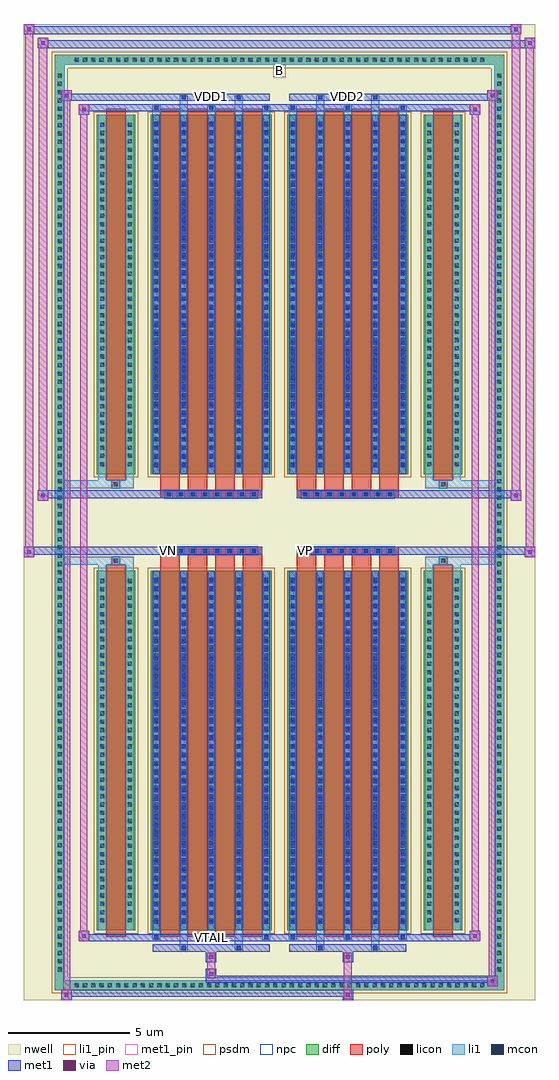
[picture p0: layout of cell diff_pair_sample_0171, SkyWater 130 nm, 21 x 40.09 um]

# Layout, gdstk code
import gdstk
lib = gdstk.Library(unit=1e-6, precision=5e-09)
def R(c, l, rs):  # rectangles x0, y0, x1, y1
    for r in rs: c.add(gdstk.rectangle(r[:2], r[2:], *l))
def A(c, l, x, y, w, h, nx, ny, dx, dy):  # array of equal rectangles
    R(c, l, [(x+i*dx, y+j*dy, x+i*dx+w, y+j*dy+h) for i in range(nx) for j in range(ny)])
def P(c, l, *ps):  # polygons
    for p in ps: c.add(gdstk.Polygon(p, *l))
nwell = (64, 20)
diff = (65, 20)
poly = (66, 20)
licon = (66, 44)
li1_pin = (67, 16)
li1 = (67, 20)
mcon = (67, 44)
met1_pin = (68, 16)
met1 = (68, 20)
via = (68, 44)
met2 = (69, 20)
psdm = (94, 20)
npc = (95, 20)

diff_pair_sample_0171 = lib.new_cell('diff_pair_sample_0171')
R(diff_pair_sample_0171, nwell, [(-10.5,-19.61,10.5,20.48), (-7.82,-17.8,-0.01,-0.8), (0.01,-17.8,7.82,-0.8), (-7.82,0.8,-0.01,17.8), (0.01,0.8,7.82,17.8)])
A(diff_pair_sample_0171, diff, -8.535, -19.21, 0.41, 0.41, 50, 2, 0.34, 38.01)
A(diff_pair_sample_0171, diff, -9.23, -18.565, 0.41, 0.41, 1, 109, 0, 0.34)
A(diff_pair_sample_0171, diff, 8.82, -18.565, 0.41, 0.41, 1, 109, 0, 0.34)
R(diff_pair_sample_0171, diff, [(-8.535,-19.21,8.535,-18.8), (-9.23,-18.565,-8.82,18.565), (8.82,-18.565,9.23,18.565), (-7.51,-16.755,-5.93,-1.985), (-5.29,-16.755,-0.32,-1.985), (0.32,-16.755,5.29,-1.985), (5.93,-16.755,7.51,-1.985), (-7.51,1.985,-5.93,16.755), (-5.29,1.985,-0.32,16.755), (0.32,1.985,5.29,16.755), (5.93,1.985,7.51,16.755), (-8.535,18.8,8.535,19.21)])
P(diff_pair_sample_0171, diff, [(9.23,19.21),(-9.23,19.21),(-9.23,-18.8),(-8.82,-18.8),(-8.82,18.8),(8.82,18.8),(8.82,-18.8),(-8.82,-18.8),(-9.23,-18.8),(-9.23,-19.21),(9.23,-19.21)])
A(diff_pair_sample_0171, poly, -4.9, -17.005, 0.8, 15.27, 4, 2, 1.13, 18.74)
A(diff_pair_sample_0171, poly, 0.71, -17.005, 0.8, 15.27, 4, 2, 1.13, 18.74)
A(diff_pair_sample_0171, poly, -4.9, -1.735, 0.8, 0.405, 4, 2, 1.13, 3.065)
A(diff_pair_sample_0171, poly, 0.71, -1.735, 0.8, 0.405, 4, 2, 1.13, 3.065)
A(diff_pair_sample_0171, poly, -4.72, -1.33, 0.33, 0.33, 8, 2, 0.5, 2.33)
A(diff_pair_sample_0171, poly, 0.89, -1.33, 0.33, 0.33, 8, 2, 0.5, 2.33)
R(diff_pair_sample_0171, poly, [(-7.12,-17.005,-6.32,-1.735), (6.32,-17.005,7.12,-1.735), (-6.885,-1.735,-6.555,-1.405), (-6.885,-1.735,-6.555,-1.405), (6.555,-1.735,6.885,-1.405), (6.555,-1.735,6.885,-1.405), (-4.9,-1.33,-0.71,-1), (0.71,-1.33,4.9,-1), (-4.9,1,-0.71,1.33), (0.71,1,4.9,1.33), (-6.885,1.405,-6.555,1.735), (-6.885,1.405,-6.555,1.735), (6.555,1.405,6.885,1.735), (6.555,1.405,6.885,1.735), (-7.12,1.735,-6.32,17.005), (6.32,1.735,7.12,17.005)])
A(diff_pair_sample_0171, licon, -8.415, -19.09, 0.17, 0.17, 50, 2, 0.34, 38.01)
A(diff_pair_sample_0171, licon, -9.11, -18.445, 0.17, 0.17, 1, 109, 0, 0.34)
A(diff_pair_sample_0171, licon, 8.94, -18.445, 0.17, 0.17, 1, 109, 0, 0.34)
A(diff_pair_sample_0171, licon, -7.37, -16.425, 0.17, 0.17, 1, 42, 0, 0.34)
A(diff_pair_sample_0171, licon, -6.24, -16.425, 0.17, 0.17, 1, 42, 0, 0.34)
A(diff_pair_sample_0171, licon, -5.15, -16.425, 0.17, 0.17, 5, 42, 1.13, 0.34)
A(diff_pair_sample_0171, licon, 0.46, -16.425, 0.17, 0.17, 5, 42, 1.13, 0.34)
A(diff_pair_sample_0171, licon, 6.07, -16.425, 0.17, 0.17, 1, 42, 0, 0.34)
A(diff_pair_sample_0171, licon, 7.2, -16.425, 0.17, 0.17, 1, 42, 0, 0.34)
A(diff_pair_sample_0171, licon, -4.64, -1.25, 0.17, 0.17, 8, 2, 0.5, 2.33)
A(diff_pair_sample_0171, licon, 0.97, -1.25, 0.17, 0.17, 8, 2, 0.5, 2.33)
A(diff_pair_sample_0171, licon, -7.37, 2.315, 0.17, 0.17, 1, 42, 0, 0.34)
A(diff_pair_sample_0171, licon, -6.24, 2.315, 0.17, 0.17, 1, 42, 0, 0.34)
A(diff_pair_sample_0171, licon, -5.15, 2.315, 0.17, 0.17, 5, 42, 1.13, 0.34)
A(diff_pair_sample_0171, licon, 0.46, 2.315, 0.17, 0.17, 5, 42, 1.13, 0.34)
A(diff_pair_sample_0171, licon, 6.07, 2.315, 0.17, 0.17, 1, 42, 0, 0.34)
A(diff_pair_sample_0171, licon, 7.2, 2.315, 0.17, 0.17, 1, 42, 0, 0.34)
R(diff_pair_sample_0171, licon, [(-6.805,-1.655,-6.635,-1.485), (6.635,-1.655,6.805,-1.485), (-6.805,1.485,-6.635,1.655), (6.635,1.485,6.805,1.655)])
R(diff_pair_sample_0171, li1_pin, [(-0.25,18.3,0.25,18.8)])
A(diff_pair_sample_0171, li1, -8.495, -19.17, 0.33, 0.33, 50, 2, 0.34, 38.01)
A(diff_pair_sample_0171, li1, -9.19, -18.525, 0.33, 0.33, 1, 109, 0, 0.34)
A(diff_pair_sample_0171, li1, 8.86, -18.525, 0.33, 0.33, 1, 109, 0, 0.34)
A(diff_pair_sample_0171, li1, -5.23, -17.13, 0.33, 0.375, 3, 2, 2.26, 33.885)
A(diff_pair_sample_0171, li1, -5.15, -17.13, 0.17, 0.17, 3, 2, 2.26, 34.09)
A(diff_pair_sample_0171, li1, 0.38, -17.13, 0.33, 0.375, 3, 2, 2.26, 33.885)
A(diff_pair_sample_0171, li1, 0.46, -17.13, 0.17, 0.17, 3, 2, 2.26, 34.09)
A(diff_pair_sample_0171, li1, -5.23, -16.755, 0.33, 14.77, 5, 2, 1.13, 18.74)
A(diff_pair_sample_0171, li1, 0.38, -16.755, 0.33, 14.77, 5, 2, 1.13, 18.74)
A(diff_pair_sample_0171, li1, -7.45, -16.505, 0.33, 0.33, 1, 42, 0, 0.34)
A(diff_pair_sample_0171, li1, -6.32, -16.505, 0.33, 0.33, 1, 42, 0, 0.34)
A(diff_pair_sample_0171, li1, -5.23, -16.505, 0.33, 0.33, 5, 42, 1.13, 0.34)
A(diff_pair_sample_0171, li1, 0.38, -16.505, 0.33, 0.33, 5, 42, 1.13, 0.34)
A(diff_pair_sample_0171, li1, 5.99, -16.505, 0.33, 0.33, 1, 42, 0, 0.34)
A(diff_pair_sample_0171, li1, 7.12, -16.505, 0.33, 0.33, 1, 42, 0, 0.34)
A(diff_pair_sample_0171, li1, -5.15, -16.475, 0.17, 0.17, 5, 40, 1.13, 0.36)
A(diff_pair_sample_0171, li1, -5.15, -16.475, 0.17, 14.21, 5, 2, 1.13, 18.74)
A(diff_pair_sample_0171, li1, 0.46, -16.475, 0.17, 0.17, 5, 40, 1.13, 0.36)
A(diff_pair_sample_0171, li1, 0.46, -16.475, 0.17, 14.21, 5, 2, 1.13, 18.74)
A(diff_pair_sample_0171, li1, -4.72, -1.33, 0.33, 0.33, 8, 2, 0.5, 2.33)
A(diff_pair_sample_0171, li1, 0.89, -1.33, 0.33, 0.33, 8, 2, 0.5, 2.33)
A(diff_pair_sample_0171, li1, -7.45, 2.235, 0.33, 0.33, 1, 42, 0, 0.34)
A(diff_pair_sample_0171, li1, -6.32, 2.235, 0.33, 0.33, 1, 42, 0, 0.34)
A(diff_pair_sample_0171, li1, -5.23, 2.235, 0.33, 0.33, 5, 42, 1.13, 0.34)
A(diff_pair_sample_0171, li1, 0.38, 2.235, 0.33, 0.33, 5, 42, 1.13, 0.34)
A(diff_pair_sample_0171, li1, 5.99, 2.235, 0.33, 0.33, 1, 42, 0, 0.34)
A(diff_pair_sample_0171, li1, 7.12, 2.235, 0.33, 0.33, 1, 42, 0, 0.34)
A(diff_pair_sample_0171, li1, -5.15, 2.265, 0.17, 0.17, 5, 40, 1.13, 0.36)
A(diff_pair_sample_0171, li1, 0.46, 2.265, 0.17, 0.17, 5, 40, 1.13, 0.36)
R(diff_pair_sample_0171, li1, [(-9.23,-19.21,-8.82,-18.8), (-9.23,-19.21,-8.82,-18.8), (-8.82,-19.21,8.82,-18.8), (8.82,-19.21,9.23,-18.8), (8.82,-19.21,9.23,-18.8), (-9.23,-18.8,-8.82,18.8), (8.82,-18.8,9.23,18.8), (-4.1,-17.56,-3.77,-16.755), (-4.02,-17.56,-3.85,-17.39), (-1.84,-17.56,-1.51,-16.755), (-1.76,-17.56,-1.59,-17.39), (1.51,-17.56,1.84,-16.755), (1.59,-17.56,1.76,-17.39), (3.77,-17.56,4.1,-16.755), (3.85,-17.56,4.02,-17.39), (-7.45,-16.755,-7.12,-1.985), (-6.32,-16.755,-5.99,-1.985), (5.99,-16.755,6.32,-1.985), (7.12,-16.755,7.45,-1.985), (-7.45,-1.985,-7.12,-1.405), (-6.32,-1.985,-5.99,-1.405), (5.99,-1.985,6.32,-1.405), (7.12,-1.985,7.45,-1.405), (-9.23,-1.735,-6.885,-1.405), (-7.45,-1.735,-6.885,-1.405), (-6.885,-1.735,-6.555,-1.405), (-6.555,-1.735,-5.99,-1.405), (5.99,-1.735,6.555,-1.405), (6.555,-1.735,6.885,-1.405), (6.555,-1.735,9.23,-1.405), (6.885,-1.735,7.45,-1.405), (-9.23,1.405,-6.885,1.735), (-7.45,1.405,-6.885,1.735), (-7.45,1.405,-7.12,1.985), (-6.885,1.405,-6.555,1.735), (-6.555,1.405,-5.99,1.735), (-6.32,1.405,-5.99,1.985), (5.99,1.405,6.555,1.735), (5.99,1.405,6.32,1.985), (6.555,1.405,6.885,1.735), (6.555,1.405,9.23,1.735), (6.885,1.405,7.45,1.735), (7.12,1.405,7.45,1.985), (-7.45,1.985,-7.12,16.755), (-6.32,1.985,-5.99,16.755), (5.99,1.985,6.32,16.755), (7.12,1.985,7.45,16.755), (-4.1,16.755,-3.77,17.56), (-1.84,16.755,-1.51,17.56), (1.51,16.755,1.84,17.56), (3.77,16.755,4.1,17.56), (-4.02,17.39,-3.85,17.56), (-1.76,17.39,-1.59,17.56), (1.59,17.39,1.76,17.56), (3.85,17.39,4.02,17.56), (-9.23,18.8,-8.82,19.21), (-9.23,18.8,-8.82,19.21), (-8.82,18.8,8.82,19.21), (8.82,18.8,9.23,19.21), (8.82,18.8,9.23,19.21)])
A(diff_pair_sample_0171, mcon, -5.15, -17.13, 0.17, 0.17, 3, 2, 2.26, 34.09)
A(diff_pair_sample_0171, mcon, 0.46, -17.13, 0.17, 0.17, 3, 2, 2.26, 34.09)
A(diff_pair_sample_0171, mcon, -5.15, -16.475, 0.17, 0.17, 5, 40, 1.13, 0.36)
A(diff_pair_sample_0171, mcon, 0.46, -16.475, 0.17, 0.17, 5, 40, 1.13, 0.36)
A(diff_pair_sample_0171, mcon, -4.64, -1.25, 0.17, 0.17, 8, 2, 0.5, 2.33)
A(diff_pair_sample_0171, mcon, 0.97, -1.25, 0.17, 0.17, 8, 2, 0.5, 2.33)
A(diff_pair_sample_0171, mcon, -5.15, 2.265, 0.17, 0.17, 5, 40, 1.13, 0.36)
A(diff_pair_sample_0171, mcon, 0.46, 2.265, 0.17, 0.17, 5, 40, 1.13, 0.36)
R(diff_pair_sample_0171, mcon, [(-4.02,-17.56,-3.85,-17.39), (-1.76,-17.56,-1.59,-17.39), (1.59,-17.56,1.76,-17.39), (3.85,-17.56,4.02,-17.39), (-4.02,17.39,-3.85,17.56), (-1.76,17.39,-1.59,17.56), (1.59,17.39,1.76,17.56), (3.85,17.39,4.02,17.56)])
R(diff_pair_sample_0171, met1_pin, [(-2.94,-17.17,-2.67,-16.9), (-4.69,-1.29,-4.42,-1.02), (0.92,-1.29,1.19,-1.02), (-2.94,17.35,-2.67,17.62), (2.67,17.35,2.94,17.62)])
A(diff_pair_sample_0171, met1, -5.21, -17.19, 0.29, 0.29, 3, 2, 2.26, 34.09)
A(diff_pair_sample_0171, met1, 0.4, -17.19, 0.29, 0.29, 3, 2, 2.26, 34.09)
A(diff_pair_sample_0171, met1, -5.21, -16.755, 0.29, 14.77, 5, 2, 1.13, 18.74)
A(diff_pair_sample_0171, met1, 0.4, -16.755, 0.29, 14.77, 5, 2, 1.13, 18.74)
A(diff_pair_sample_0171, met1, -5.21, -16.535, 0.29, 0.29, 5, 40, 1.13, 0.36)
A(diff_pair_sample_0171, met1, 0.4, -16.535, 0.29, 0.29, 5, 40, 1.13, 0.36)
A(diff_pair_sample_0171, met1, -4.7, -1.31, 0.29, 0.29, 8, 2, 0.5, 2.33)
A(diff_pair_sample_0171, met1, 0.91, -1.31, 0.29, 0.29, 8, 2, 0.5, 2.33)
A(diff_pair_sample_0171, met1, -5.21, 2.205, 0.29, 0.29, 5, 40, 1.13, 0.36)
A(diff_pair_sample_0171, met1, 0.4, 2.205, 0.29, 0.29, 5, 40, 1.13, 0.36)
R(diff_pair_sample_0171, met1, [(-8.96,-19.61,-8.53,-19.18), (2.59,-19.61,3.02,-19.18), (-8.96,-19.47,3.02,-19.18), (8.53,-19.04,8.96,-18.61), (-3.02,-18.9,8.96,-18.61), (-3.02,-18.76,-2.59,-18.33), (-3.02,-18.05,-2.59,-17.62), (2.59,-18.05,3.02,-17.62), (-5.21,-17.62,-0.4,-17.33), (-4.08,-17.62,-3.79,-17.33), (-1.82,-17.62,-1.53,-17.33), (0.4,-17.62,5.21,-17.33), (1.53,-17.62,1.82,-17.33), (3.79,-17.62,4.08,-17.33), (-8.25,-17.19,-7.82,-16.76), (-8.25,-17.19,-5.21,-16.9), (-5.21,-17.19,-0.4,-16.9), (-0.4,-17.19,0.4,-16.9), (0.4,-17.19,5.21,-16.9), (5.21,-17.19,8.25,-16.9), (7.82,-17.19,8.25,-16.76), (-10.5,-1.43,-10.07,-1), (10.07,-1.43,10.5,-1), (-10.5,-1.33,-0.71,-1), (-4.9,-1.33,-0.71,-1), (0.71,-1.33,4.9,-1), (0.71,-1.33,10.5,-1), (-9.93,0.9,-9.5,1.33), (9.5,0.9,9.93,1.33), (-9.93,1,-4.9,1.33), (-4.9,1,-0.71,1.33), (0.71,1,4.9,1.33), (4.9,1,9.93,1.33), (-8.25,16.76,-7.82,17.19), (7.82,16.76,8.25,17.19), (-8.25,16.9,-5.21,17.19), (-5.21,16.9,-0.4,17.19), (-0.4,16.9,0.4,17.19), (0.4,16.9,5.21,17.19), (5.21,16.9,8.25,17.19), (-8.96,17.33,-8.53,17.76), (-8.96,17.33,-5.21,17.62), (-5.21,17.33,-0.4,17.62), (-4.08,17.33,-3.79,17.62), (-1.82,17.33,-1.53,17.62), (0.4,17.33,5.21,17.62), (1.53,17.33,1.82,17.62), (3.79,17.33,4.08,17.62), (5.21,17.33,8.96,17.62), (8.53,17.33,8.96,17.76), (-9.93,19.48,-9.5,19.91), (-9.93,19.48,-7.82,19.81), (-7.82,19.48,7.82,19.81), (7.82,19.48,10.5,19.81), (10.07,19.48,10.5,19.91), (-10.5,20.05,-10.07,20.48), (-10.5,20.05,-7.82,20.38), (-7.82,20.05,7.82,20.38), (7.82,20.05,9.93,20.38), (9.5,20.05,9.93,20.48)])
R(diff_pair_sample_0171, via, [(-8.82,-19.47,-8.67,-19.32), (2.73,-19.47,2.88,-19.32), (8.67,-18.9,8.82,-18.75), (-2.88,-18.62,-2.73,-18.47), (-2.88,-17.91,-2.73,-17.76), (2.73,-17.91,2.88,-17.76), (-8.11,-17.05,-7.96,-16.9), (7.96,-17.05,8.11,-16.9), (-10.36,-1.29,-10.21,-1.14), (10.21,-1.29,10.36,-1.14), (-9.79,1.04,-9.64,1.19), (9.64,1.04,9.79,1.19), (-8.11,16.9,-7.96,17.05), (7.96,16.9,8.11,17.05), (-8.82,17.47,-8.67,17.62), (8.67,17.47,8.82,17.62), (-9.79,19.62,-9.64,19.77), (10.21,19.62,10.36,19.77), (-10.36,20.19,-10.21,20.34), (9.64,20.19,9.79,20.34)])
R(diff_pair_sample_0171, met2, [(-8.96,-19.61,-8.53,-19.18), (-8.89,-19.61,-8.6,17.76), (-8.6,-19.61,-8.53,-19.18), (-8.91,-19.56,-8.58,-19.23), (2.64,-19.56,2.97,-19.23), (2.64,-19.23,2.97,-18), (8.53,-19.04,8.96,-18.61), (8.6,-19.04,8.89,17.76), (8.89,-19.04,8.96,-18.61), (8.58,-18.99,8.91,-18.66), (-2.97,-18.71,-2.64,-18.38), (-2.97,-18.38,-2.64,-18), (-2.97,-18,-2.64,-17.67), (2.64,-18,2.97,-17.67), (-8.25,-17.19,-7.82,-16.76), (-8.18,-17.19,-7.89,17.19), (-7.89,-17.19,-7.82,-16.76), (7.82,-17.19,8.25,-16.76), (7.89,-17.19,8.18,17.19), (8.18,-17.19,8.25,-16.76), (-8.2,-17.14,-7.87,-16.81), (7.87,-17.14,8.2,-16.81), (-10.5,-1.43,-10.07,-1), (-10.45,-1.43,-10.12,20.48), (-10.12,-1.43,-10.07,-1), (10.07,-1.43,10.5,-1), (10.12,-1.43,10.45,19.91), (10.45,-1.43,10.5,-1), (-10.45,-1.38,-10.12,-1.05), (10.12,-1.38,10.45,-1.05), (-9.93,0.9,-9.5,1.33), (-9.88,0.9,-9.55,19.91), (-9.55,0.9,-9.5,1.33), (9.5,0.9,9.93,1.33), (9.55,0.9,9.88,20.48), (9.88,0.9,9.93,1.33), (-9.88,0.95,-9.55,1.28), (9.55,0.95,9.88,1.28), (-8.25,16.76,-7.82,17.19), (-7.89,16.76,-7.82,17.19), (7.82,16.76,8.25,17.19), (8.18,16.76,8.25,17.19), (-8.2,16.81,-7.87,17.14), (7.87,16.81,8.2,17.14), (-8.96,17.33,-8.53,17.76), (-8.6,17.33,-8.53,17.76), (8.53,17.33,8.96,17.76), (8.89,17.33,8.96,17.76), (-8.91,17.38,-8.58,17.71), (8.58,17.38,8.91,17.71), (-9.93,19.48,-9.5,19.91), (-9.55,19.48,-9.5,19.91), (10.07,19.48,10.5,19.91), (10.45,19.48,10.5,19.91), (-9.88,19.53,-9.55,19.86), (10.12,19.53,10.45,19.86), (-10.5,20.05,-10.07,20.48), (-10.12,20.05,-10.07,20.48), (9.5,20.05,9.93,20.48), (9.88,20.05,9.93,20.48), (-10.45,20.1,-10.12,20.43), (9.55,20.1,9.88,20.43)])
R(diff_pair_sample_0171, psdm, [(-7.64,-16.885,-5.8,-1.855), (-5.42,-16.885,-0.19,-1.855), (0.19,-16.885,5.42,-1.855), (5.8,-16.885,7.64,-1.855), (-7.64,1.855,-5.8,16.885), (-5.42,1.855,-0.19,16.885), (0.19,1.855,5.42,16.885), (5.8,1.855,7.64,16.885)])
P(diff_pair_sample_0171, psdm, [(9.36,19.34),(-9.36,19.34),(-9.36,-18.67),(-8.69,-18.67),(-8.69,18.67),(8.69,18.67),(8.69,-18.67),(-8.69,-18.67),(-9.36,-18.67),(-9.36,-19.34),(9.36,-19.34)])
A(diff_pair_sample_0171, npc, -4.74, -1.35, 0.37, 0.37, 8, 2, 0.5, 2.33)
A(diff_pair_sample_0171, npc, 0.87, -1.35, 0.37, 0.37, 8, 2, 0.5, 2.33)
R(diff_pair_sample_0171, npc, [(-6.905,-1.755,-6.535,-1.385), (6.535,-1.755,6.905,-1.385), (-4.74,-1.35,-3.87,-0.98), (-4.74,-1.35,-3.87,-0.98), (-4.24,-1.35,-3.37,-0.98), (-4.24,-1.35,-3.37,-0.98), (-3.74,-1.35,-2.87,-0.98), (-3.74,-1.35,-2.87,-0.98), (-3.24,-1.35,-2.37,-0.98), (-3.24,-1.35,-2.37,-0.98), (-2.74,-1.35,-1.87,-0.98), (-2.74,-1.35,-1.87,-0.98), (-2.24,-1.35,-1.37,-0.98), (-2.24,-1.35,-1.37,-0.98), (-1.74,-1.35,-0.87,-0.98), (-1.74,-1.35,-0.87,-0.98), (0.87,-1.35,1.74,-0.98), (0.87,-1.35,1.74,-0.98), (1.37,-1.35,2.24,-0.98), (1.37,-1.35,2.24,-0.98), (1.87,-1.35,2.74,-0.98), (1.87,-1.35,2.74,-0.98), (2.37,-1.35,3.24,-0.98), (2.37,-1.35,3.24,-0.98), (2.87,-1.35,3.74,-0.98), (2.87,-1.35,3.74,-0.98), (3.37,-1.35,4.24,-0.98), (3.37,-1.35,4.24,-0.98), (3.87,-1.35,4.74,-0.98), (3.87,-1.35,4.74,-0.98), (-4.74,0.98,-3.87,1.35), (-4.74,0.98,-3.87,1.35), (-4.24,0.98,-3.37,1.35), (-4.24,0.98,-3.37,1.35), (-3.74,0.98,-2.87,1.35), (-3.74,0.98,-2.87,1.35), (-3.24,0.98,-2.37,1.35), (-3.24,0.98,-2.37,1.35), (-2.74,0.98,-1.87,1.35), (-2.74,0.98,-1.87,1.35), (-2.24,0.98,-1.37,1.35), (-2.24,0.98,-1.37,1.35), (-1.74,0.98,-0.87,1.35), (-1.74,0.98,-0.87,1.35), (0.87,0.98,1.74,1.35), (0.87,0.98,1.74,1.35), (1.37,0.98,2.24,1.35), (1.37,0.98,2.24,1.35), (1.87,0.98,2.74,1.35), (1.87,0.98,2.74,1.35), (2.37,0.98,3.24,1.35), (2.37,0.98,3.24,1.35), (2.87,0.98,3.74,1.35), (2.87,0.98,3.74,1.35), (3.37,0.98,4.24,1.35), (3.37,0.98,4.24,1.35), (3.87,0.98,4.74,1.35), (3.87,0.98,4.74,1.35), (-6.905,1.385,-6.535,1.755), (6.535,1.385,6.905,1.755)])
diff_pair_sample_0171.add(gdstk.Label('VTAIL', (-2.805,-17.035), layer=68, texttype=5))
diff_pair_sample_0171.add(gdstk.Label('VN', (-4.555,-1.155), layer=68, texttype=5))
diff_pair_sample_0171.add(gdstk.Label('VP', (1.055,-1.155), layer=68, texttype=5))
diff_pair_sample_0171.add(gdstk.Label('B', (0,18.55), layer=67, texttype=5))
diff_pair_sample_0171.add(gdstk.Label('VDD2', (2.805,17.485), layer=68, texttype=5))
diff_pair_sample_0171.add(gdstk.Label('VDD1', (-2.805,17.485), layer=68, texttype=5))

lib.write_gds('diff_pair_sample_0171.gds')
